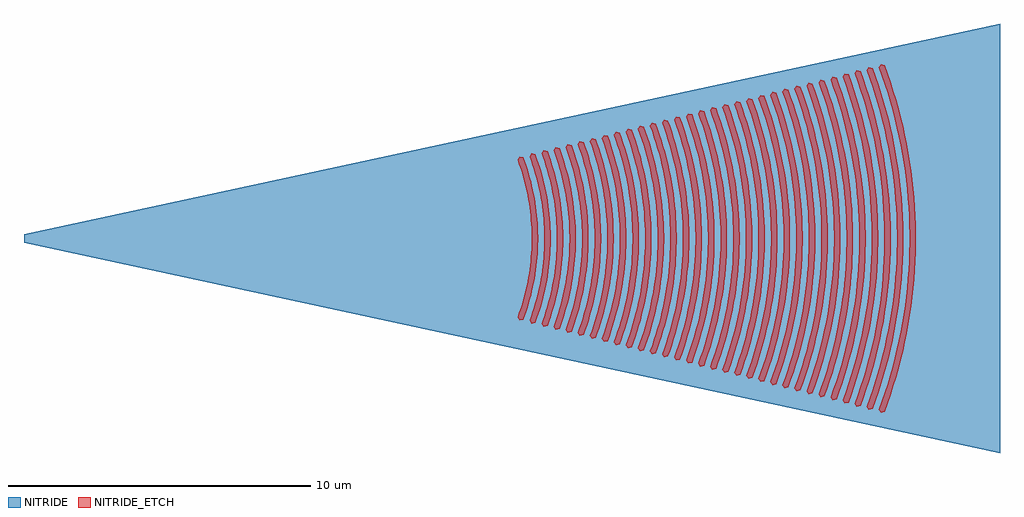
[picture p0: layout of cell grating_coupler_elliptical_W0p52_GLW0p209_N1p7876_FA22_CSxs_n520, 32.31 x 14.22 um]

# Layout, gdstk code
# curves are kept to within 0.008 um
import gdstk
lib = gdstk.Library(unit=1e-6, precision=1e-09)
def P(c, l, *ps):  # polygons
    for p in ps: c.add(gdstk.Polygon(p, *l))
NITRIDE = (203, 0)
NITRIDE_ETCH = (204, 0)

grating_coupler_elliptic = lib.new_cell('grating_coupler_elliptical_W0p52_GLW0p209_N1p7876_FA22_CSxs_n520')
P(grating_coupler_elliptic, NITRIDE, [(26.239,-7.112),(-6.071,-0.135),(-6.071,0.135),(26.239,7.112)])
P(grating_coupler_elliptic, NITRIDE_ETCH, [(10.342,-2.712),(10.267,-2.612),(10.477,-1.959),(10.626,-1.291),(10.7,-0.75),(10.738,-0.068),(10.712,0.614),(10.686,0.886),(10.626,1.291),(10.477,1.959),(10.267,2.612),(10.342,2.712),(10.463,2.682),(10.639,2.148),(10.746,1.74),(10.83,1.327),(10.892,0.91),(10.93,0.491),(10.946,0.07),(10.938,-0.351),(10.908,-0.77),(10.854,-1.188),(10.777,-1.603),(10.639,-2.148),(10.463,-2.682)],
  [(10.739,-2.814),(10.665,-2.713),(10.884,-2.035),(11.039,-1.341),(11.116,-0.779),(11.155,-0.071),(11.139,0.496),(11.082,1.061),(11.012,1.481),(10.919,1.897),(10.804,2.308),(10.665,2.713),(10.739,2.814),(10.861,2.785),(11.045,2.23),(11.188,1.664),(11.267,1.233),(11.322,0.799),(11.347,0.51),(11.363,0.073),(11.355,-0.364),(11.322,-0.799),(11.267,-1.233),(11.188,-1.664),(11.045,-2.23),(10.861,-2.785)],
  [(11.138,-2.916),(11.064,-2.816),(11.291,-2.111),(11.451,-1.392),(11.532,-0.809),(11.572,-0.074),(11.555,0.514),(11.532,0.809),(11.475,1.246),(11.394,1.681),(11.291,2.111),(11.064,2.816),(11.138,2.916),(11.26,2.886),(11.45,2.311),(11.565,1.872),(11.655,1.428),(11.721,0.98),(11.763,0.528),(11.78,0.076),(11.771,-0.378),(11.738,-0.829),(11.681,-1.278),(11.598,-1.725),(11.45,-2.311),(11.26,-2.886)],
  [(11.538,-3.018),(11.463,-2.918),(11.612,-2.481),(11.697,-2.187),(11.772,-1.891),(11.864,-1.442),(11.947,-0.838),(11.972,-0.533),(11.989,-0.076),(11.972,0.533),(11.911,1.141),(11.836,1.592),(11.736,2.04),(11.612,2.481),(11.463,2.918),(11.538,3.018),(11.659,2.988),(11.855,2.393),(12.009,1.785),(12.094,1.323),(12.136,1.013),(12.18,0.547),(12.197,0.078),(12.188,-0.391),(12.153,-0.858),(12.094,-1.323),(12.009,-1.785),(11.855,-2.393),(11.659,-2.988)],
  [(11.935,-3.119),(11.861,-3.018),(12.016,-2.568),(12.104,-2.264),(12.215,-1.802),(12.302,-1.336),(12.376,-0.71),(12.406,-0.079),(12.388,0.552),(12.325,1.18),(12.247,1.647),(12.144,2.111),(12.016,2.568),(11.861,3.018),(11.935,3.119),(12.057,3.09),(12.261,2.474),(12.419,1.846),(12.508,1.368),(12.569,0.887),(12.596,0.566),(12.614,0.081),(12.605,-0.404),(12.569,-0.887),(12.508,-1.368),(12.419,-1.846),(12.261,-2.474),(12.057,-3.09)],
  [(12.335,-3.221),(12.26,-3.121),(12.369,-2.81),(12.511,-2.34),(12.626,-1.863),(12.715,-1.382),(12.792,-0.733),(12.823,-0.082),(12.804,0.57),(12.739,1.22),(12.659,1.703),(12.552,2.182),(12.419,2.654),(12.26,3.121),(12.335,3.221),(12.456,3.191),(12.666,2.556),(12.83,1.907),(12.921,1.414),(12.966,1.082),(13.012,0.584),(13.031,0.084),(13.022,-0.417),(12.984,-0.916),(12.921,-1.414),(12.83,-1.907),(12.666,-2.556),(12.456,-3.191)],
  [(12.734,-3.323),(12.659,-3.223),(12.823,-2.741),(12.918,-2.417),(13.036,-1.924),(13.129,-1.427),(13.208,-0.757),(13.24,-0.084),(13.221,0.589),(13.194,0.925),(13.129,1.427),(13.036,1.924),(12.918,2.417),(12.823,2.741),(12.659,3.223),(12.734,3.323),(12.855,3.293),(13.072,2.637),(13.24,1.968),(13.335,1.459),(13.381,1.117),(13.429,0.603),(13.448,0.086),(13.438,-0.431),(13.4,-0.945),(13.335,-1.459),(13.24,-1.968),(13.072,-2.637),(12.855,-3.293)],
  [(13.131,-3.425),(13.057,-3.325),(13.227,-2.828),(13.325,-2.493),(13.447,-1.985),(13.542,-1.472),(13.624,-0.781),(13.657,-0.087),(13.637,0.607),(13.568,1.3),(13.482,1.814),(13.368,2.325),(13.227,2.828),(13.057,3.325),(13.131,3.425),(13.253,3.395),(13.477,2.719),(13.651,2.029),(13.748,1.504),(13.796,1.151),(13.845,0.621),(13.865,0.089),(13.855,-0.444),(13.815,-0.975),(13.748,-1.504),(13.651,-2.029),(13.477,-2.719),(13.253,-3.395)],
  [(13.53,-3.527),(13.456,-3.427),(13.631,-2.914),(13.731,-2.569),(13.819,-2.22),(13.927,-1.694),(14.025,-0.984),(14.064,-0.447),(14.074,-0.089),(14.054,0.626),(13.982,1.34),(13.894,1.87),(13.776,2.396),(13.631,2.914),(13.456,3.427),(13.53,3.527),(13.652,3.497),(13.882,2.8),(14.062,2.089),(14.161,1.549),(14.211,1.186),(14.262,0.64),(14.282,0.091),(14.272,-0.457),(14.231,-1.004),(14.161,-1.549),(14.062,-2.089),(13.882,-2.8),(13.652,-3.497)],
  [(13.93,-3.628),(13.855,-3.528),(14.035,-3.001),(14.138,-2.646),(14.268,-2.107),(14.369,-1.562),(14.456,-0.829),(14.491,-0.092),(14.47,0.645),(14.42,1.196),(14.369,1.562),(14.268,2.107),(14.138,2.646),(14.035,3.001),(13.855,3.528),(13.93,3.628),(14.051,3.598),(14.288,2.882),(14.472,2.149),(14.575,1.594),(14.626,1.22),(14.678,0.659),(14.699,0.094),(14.688,-0.471),(14.646,-1.033),(14.575,-1.594),(14.472,-2.149),(14.288,-2.882),(14.051,-3.598)],
  [(14.327,-3.73),(14.253,-3.629),(14.439,-3.087),(14.545,-2.722),(14.679,-2.167),(14.782,-1.607),(14.835,-1.231),(14.872,-0.852),(14.908,-0.095),(14.887,0.663),(14.835,1.231),(14.782,1.607),(14.679,2.167),(14.545,2.722),(14.439,3.087),(14.253,3.629),(14.327,3.73),(14.449,3.701),(14.693,2.963),(14.883,2.211),(14.988,1.639),(15.041,1.255),(15.095,0.677),(15.116,0.097),(15.105,-0.484),(15.062,-1.062),(14.988,-1.639),(14.883,-2.211),(14.693,-2.963),(14.449,-3.701)],
  [(14.727,-3.832),(14.652,-3.732),(14.842,-3.174),(14.952,-2.799),(15.089,-2.228),(15.196,-1.652),(15.289,-0.876),(15.325,-0.097),(15.314,0.487),(15.289,0.876),(15.196,1.652),(15.089,2.228),(14.952,2.799),(14.842,3.174),(14.652,3.732),(14.727,3.832),(14.848,3.802),(15.098,3.045),(15.293,2.272),(15.402,1.684),(15.456,1.289),(15.511,0.696),(15.533,0.099),(15.522,-0.497),(15.497,-0.894),(15.431,-1.487),(15.333,-2.077),(15.152,-2.853),(14.915,-3.615),(14.848,-3.802)],
  [(15.125,-3.934),(15.051,-3.834),(15.246,-3.261),(15.359,-2.875),(15.5,-2.289),(15.609,-1.697),(15.665,-1.3),(15.705,-0.901),(15.742,-0.1),(15.738,0.3),(15.705,0.901),(15.665,1.3),(15.609,1.697),(15.5,2.289),(15.359,2.875),(15.246,3.261),(15.051,3.834),(15.125,3.934),(15.247,3.904),(15.504,3.126),(15.704,2.333),(15.815,1.729),(15.871,1.324),(15.927,0.714),(15.95,0.102),(15.938,-0.511),(15.893,-1.122),(15.815,-1.729),(15.704,-2.333),(15.504,-3.126),(15.247,-3.904)],
  [(15.523,-4.036),(15.449,-3.936),(15.65,-3.347),(15.765,-2.951),(15.91,-2.349),(16.023,-1.742),(16.08,-1.334),(16.121,-0.924),(16.159,-0.103),(16.155,0.308),(16.121,0.924),(16.08,1.334),(16.023,1.742),(15.91,2.349),(15.765,2.951),(15.65,3.347),(15.449,3.936),(15.523,4.036),(15.645,4.006),(15.909,3.208),(16.114,2.393),(16.229,1.774),(16.286,1.36),(16.344,0.733),(16.367,0.105),(16.363,-0.314),(16.329,-0.942),(16.259,-1.567),(16.156,-2.188),(16.019,-2.803),(15.784,-3.61),(15.645,-4.006)],
  [(15.922,-4.137),(15.848,-4.036),(16.054,-3.434),(16.172,-3.028),(16.321,-2.41),(16.436,-1.787),(16.495,-1.369),(16.537,-0.948),(16.576,-0.105),(16.572,0.316),(16.537,0.948),(16.495,1.369),(16.436,1.787),(16.321,2.41),(16.172,3.028),(16.054,3.434),(15.848,4.036),(15.922,4.137),(16.044,4.108),(16.117,3.906),(16.314,3.289),(16.525,2.454),(16.642,1.819),(16.701,1.393),(16.76,0.752),(16.784,0.107),(16.78,-0.322),(16.745,-0.966),(16.673,-1.606),(16.568,-2.243),(16.427,-2.874),(16.187,-3.702),(16.044,-4.108)],
  [(16.32,-4.239),(16.246,-4.138),(16.458,-3.521),(16.579,-3.104),(16.732,-2.471),(16.85,-1.832),(16.91,-1.404),(16.953,-0.972),(16.993,-0.108),(16.969,0.756),(16.934,1.189),(16.85,1.832),(16.732,2.471),(16.579,3.104),(16.458,3.521),(16.246,4.138),(16.32,4.239),(16.442,4.21),(16.517,4.003),(16.72,3.371),(16.936,2.515),(17.056,1.864),(17.116,1.428),(17.177,0.77),(17.201,0.11),(17.189,-0.55),(17.14,-1.209),(17.056,-1.864),(16.936,-2.515),(16.72,-3.371),(16.517,-4.003),(16.442,-4.21)],
  [(16.72,-4.341),(16.645,-4.241),(16.862,-3.607),(16.986,-3.18),(17.094,-2.75),(17.228,-2.096),(17.349,-1.218),(17.397,-0.554),(17.409,-0.111),(17.397,0.554),(17.369,0.996),(17.325,1.438),(17.263,1.877),(17.142,2.532),(16.986,3.18),(16.862,3.607),(16.645,4.241),(16.72,4.341),(16.841,4.311),(16.917,4.099),(17.125,3.452),(17.244,3.015),(17.346,2.576),(17.432,2.132),(17.531,1.462),(17.593,0.789),(17.617,0.113),(17.605,-0.564),(17.577,-1.014),(17.502,-1.686),(17.391,-2.354),(17.244,-3.015),(16.991,-3.885),(16.841,-4.311)],
  [(17.119,-4.443),(17.044,-4.343),(17.265,-3.694),(17.393,-3.257),(17.553,-2.593),(17.677,-1.923),(17.74,-1.473),(17.785,-1.021),(17.814,-0.567),(17.826,-0.113),(17.814,0.567),(17.785,1.021),(17.74,1.473),(17.677,1.923),(17.553,2.593),(17.393,3.257),(17.265,3.694),(17.044,4.343),(17.119,4.443),(17.24,4.413),(17.318,4.195),(17.531,3.534),(17.652,3.087),(17.757,2.637),(17.883,1.955),(17.946,1.497),(18.009,0.808),(18.034,0.115),(18.022,-0.577),(17.993,-1.037),(17.916,-1.726),(17.803,-2.41),(17.652,-3.087),(17.531,-3.534),(17.393,-3.977),(17.24,-4.413)],
  [(17.516,-4.545),(17.442,-4.445),(17.669,-3.78),(17.8,-3.333),(17.913,-2.882),(18.053,-2.197),(18.125,-1.738),(18.18,-1.275),(18.231,-0.58),(18.243,-0.116),(18.231,0.58),(18.201,1.044),(18.154,1.507),(18.09,1.968),(17.963,2.654),(17.8,3.333),(17.669,3.78),(17.442,4.445),(17.516,4.545),(17.638,4.515),(17.718,4.292),(17.936,3.615),(18.06,3.158),(18.167,2.698),(18.296,2),(18.386,1.297),(18.426,0.826),(18.451,0.118),(18.439,-0.59),(18.409,-1.062),(18.331,-1.766),(18.214,-2.466),(18.06,-3.158),(17.936,-3.615),(17.795,-4.068),(17.638,-4.515)],
  [(17.915,-4.646),(17.841,-4.546),(18.073,-3.867),(18.206,-3.409),(18.323,-2.947),(18.466,-2.247),(18.539,-1.777),(18.596,-1.304),(18.647,-0.594),(18.66,-0.119),(18.656,0.356),(18.617,1.069),(18.569,1.542),(18.504,2.013),(18.374,2.714),(18.206,3.409),(18.073,3.867),(17.841,4.546),(17.915,4.646),(18.037,4.616),(18.119,4.39),(18.341,3.697),(18.468,3.23),(18.578,2.758),(18.71,2.045),(18.802,1.326),(18.842,0.845),(18.868,0.121),(18.864,-0.362),(18.825,-1.085),(18.745,-1.805),(18.626,-2.521),(18.468,-3.23),(18.341,-3.697),(18.198,-4.16),(18.037,-4.616)],
  [(18.315,-4.748),(18.24,-4.648),(18.477,-3.954),(18.613,-3.486),(18.732,-3.013),(18.878,-2.298),(18.953,-1.817),(19.011,-1.334),(19.051,-0.85),(19.077,-0.121),(19.073,0.364),(19.051,0.85),(19.011,1.334),(18.917,2.058),(18.784,2.775),(18.613,3.486),(18.477,3.954),(18.24,4.648),(18.315,4.748),(18.436,4.718),(18.519,4.486),(18.747,3.778),(18.876,3.3),(18.988,2.819),(19.123,2.09),(19.217,1.356),(19.259,0.864),(19.285,0.123),(19.281,-0.37),(19.241,-1.11),(19.159,-1.845),(19.038,-2.577),(18.876,-3.3),(18.747,-3.778),(18.6,-4.252),(18.436,-4.718)],
  [(18.712,-4.85),(18.638,-4.749),(18.881,-4.04),(19.02,-3.562),(19.141,-3.079),(19.291,-2.348),(19.367,-1.857),(19.427,-1.363),(19.481,-0.62),(19.494,-0.124),(19.49,0.372),(19.449,1.116),(19.399,1.611),(19.331,2.103),(19.195,2.836),(19.02,3.562),(18.881,4.04),(18.638,4.749),(18.712,4.85),(18.834,4.821),(18.92,4.584),(19.152,3.86),(19.284,3.371),(19.399,2.88),(19.537,2.135),(19.633,1.385),(19.689,0.63),(19.702,0.126),(19.698,-0.378),(19.657,-1.134),(19.573,-1.885),(19.449,-2.632),(19.284,-3.371),(19.152,-3.86),(19.002,-4.344),(18.834,-4.821)],
  [(19.112,-4.952),(19.037,-4.852),(19.284,-4.127),(19.427,-3.639),(19.551,-3.145),(19.703,-2.398),(19.782,-1.897),(19.842,-1.392),(19.897,-0.634),(19.911,-0.127),(19.907,0.38),(19.865,1.14),(19.814,1.645),(19.744,2.148),(19.606,2.897),(19.427,3.639),(19.284,4.127),(19.037,4.852),(19.112,4.952),(19.233,4.922),(19.32,4.679),(19.482,4.189),(19.627,3.693),(19.81,2.941),(19.95,2.18),(20.02,1.669),(20.091,0.901),(20.119,0.129),(20.115,-0.386),(20.073,-1.158),(19.988,-1.925),(19.861,-2.688),(19.693,-3.443),(19.557,-3.941),(19.404,-4.435),(19.233,-4.922)],
  [(19.51,-5.054),(19.436,-4.954),(19.688,-4.214),(19.834,-3.715),(19.96,-3.212),(20.116,-2.449),(20.196,-1.937),(20.258,-1.421),(20.314,-0.647),(20.328,-0.129),(20.324,0.388),(20.3,0.905),(20.258,1.421),(20.158,2.193),(20.016,2.958),(19.834,3.715),(19.688,4.214),(19.436,4.954),(19.51,5.054),(19.632,5.024),(19.721,4.776),(19.963,4.023),(20.101,3.514),(20.22,3.002),(20.364,2.225),(20.464,1.443),(20.508,0.919),(20.536,0.131),(20.532,-0.394),(20.489,-1.182),(20.402,-1.965),(20.272,-2.744),(20.101,-3.514),(19.963,-4.023),(19.806,-4.527),(19.632,-5.024)],
  [(19.908,-5.156),(19.834,-5.056),(20.092,-4.3),(20.24,-3.791),(20.37,-3.277),(20.529,-2.499),(20.61,-1.977),(20.673,-1.451),(20.731,-0.66),(20.745,-0.132),(20.741,0.396),(20.697,1.188),(20.644,1.714),(20.571,2.238),(20.427,3.018),(20.24,3.791),(20.092,4.3),(19.834,5.056),(19.908,5.156),(20.03,5.126),(20.121,4.873),(20.368,4.104),(20.509,3.586),(20.631,3.062),(20.777,2.27),(20.85,1.738),(20.924,0.938),(20.953,0.134),(20.949,-0.402),(20.905,-1.206),(20.816,-2.005),(20.684,-2.799),(20.509,-3.586),(20.368,-4.104),(20.208,-4.619),(20.03,-5.126)],
  [(20.307,-5.257),(20.233,-5.156),(20.496,-4.387),(20.647,-3.868),(20.779,-3.343),(20.941,-2.549),(21.024,-2.016),(21.089,-1.48),(21.133,-0.943),(21.162,-0.135),(21.157,0.404),(21.133,0.943),(21.089,1.48),(20.985,2.283),(20.837,3.079),(20.647,3.868),(20.496,4.387),(20.233,5.156),(20.307,5.257),(20.429,5.228),(20.522,4.97),(20.773,4.186),(20.917,3.656),(21.041,3.123),(21.191,2.315),(21.295,1.502),(21.341,0.957),(21.37,0.137),(21.365,-0.41),(21.321,-1.229),(21.23,-2.044),(21.096,-2.855),(20.917,-3.656),(20.773,-4.186),(20.611,-4.71),(20.429,-5.228)],
  [(20.707,-5.359),(20.632,-5.259),(20.9,-4.473),(21.054,-3.944),(21.189,-3.409),(21.354,-2.6),(21.439,-2.056),(21.504,-1.509),(21.564,-0.687),(21.579,-0.137),(21.564,0.687),(21.529,1.235),(21.474,1.783),(21.398,2.328),(21.248,3.14),(21.054,3.944),(20.9,4.473),(20.632,5.259),(20.707,5.359),(20.828,5.329),(21.013,4.802),(21.254,3.998),(21.452,3.184),(21.604,2.36),(21.68,1.807),(21.757,0.975),(21.787,0.139),(21.772,-0.697),(21.737,-1.253),(21.645,-2.084),(21.507,-2.91),(21.325,-3.727),(21.179,-4.267),(21.013,-4.802),(20.828,-5.329)],
  [(21.104,-5.461),(21.03,-5.36),(21.304,-4.56),(21.461,-4.02),(21.598,-3.475),(21.766,-2.65),(21.853,-2.096),(21.92,-1.539),(21.981,-0.7),(21.996,-0.14),(21.981,0.7),(21.945,1.26),(21.889,1.818),(21.812,2.373),(21.659,3.201),(21.461,4.02),(21.304,4.56),(21.03,5.36),(21.104,5.461),(21.226,5.432),(21.323,5.163),(21.584,4.349),(21.733,3.799),(21.863,3.245),(22.018,2.405),(22.095,1.842),(22.173,0.994),(22.204,0.142),(22.189,-0.71),(22.153,-1.276),(22.059,-2.124),(21.919,-2.966),(21.733,-3.799),(21.584,-4.349),(21.415,-4.894),(21.226,-5.432)],
  [(21.503,-5.563),(21.429,-5.463),(21.707,-4.647),(21.868,-4.097),(22.007,-3.542),(22.179,-2.7),(22.267,-2.136),(22.335,-1.569),(22.398,-0.713),(22.413,-0.143),(22.408,0.428),(22.382,0.998),(22.304,1.852),(22.225,2.418),(22.069,3.262),(21.868,4.097),(21.707,4.647),(21.429,5.463),(21.503,5.563),(21.625,5.533),(21.817,4.986),(22.068,4.151),(22.273,3.306),(22.431,2.45),(22.51,1.876),(22.59,1.012),(22.621,0.145),(22.606,-0.723),(22.569,-1.301),(22.473,-2.164),(22.331,-3.021),(22.142,-3.87),(21.99,-4.43),(21.817,-4.986),(21.625,-5.533)],
  [(21.901,-5.665),(21.827,-5.565),(22.111,-4.733),(22.274,-4.173),(22.417,-3.607),(22.592,-2.751),(22.681,-2.176),(22.751,-1.598),(22.814,-0.727),(22.83,-0.145),(22.825,0.436),(22.777,1.307),(22.719,1.887),(22.639,2.464),(22.48,3.322),(22.274,4.173),(22.111,4.733),(21.827,5.565),(21.901,5.665),(22.023,5.635),(22.219,5.077),(22.474,4.227),(22.684,3.366),(22.845,2.496),(22.925,1.911),(23.006,1.031),(23.038,0.147),(23.033,-0.442),(22.985,-1.325),(22.887,-2.204),(22.742,-3.077),(22.55,-3.942),(22.395,-4.512),(22.219,-5.077),(22.023,-5.635)],
  [(22.3,-5.766),(22.226,-5.666),(22.515,-4.82),(22.681,-4.249),(22.826,-3.673),(23.004,-2.801),(23.096,-2.215),(23.166,-1.627),(23.215,-1.036),(23.247,-0.148),(23.242,0.444),(23.215,1.036),(23.134,1.922),(23.052,2.509),(22.89,3.383),(22.681,4.249),(22.515,4.82),(22.226,5.666),(22.3,5.766),(22.422,5.736),(22.622,5.169),(22.881,4.303),(23.094,3.427),(23.258,2.541),(23.34,1.946),(23.423,1.05),(23.455,0.15),(23.45,-0.45),(23.401,-1.349),(23.302,-2.243),(23.154,-3.133),(22.958,-4.012),(22.8,-4.593),(22.622,-5.169),(22.422,-5.736)])

lib.write_gds('grating_coupler_elliptical_W0p52_GLW0p209_N1p7876_FA22_CSxs_n520.gds')
